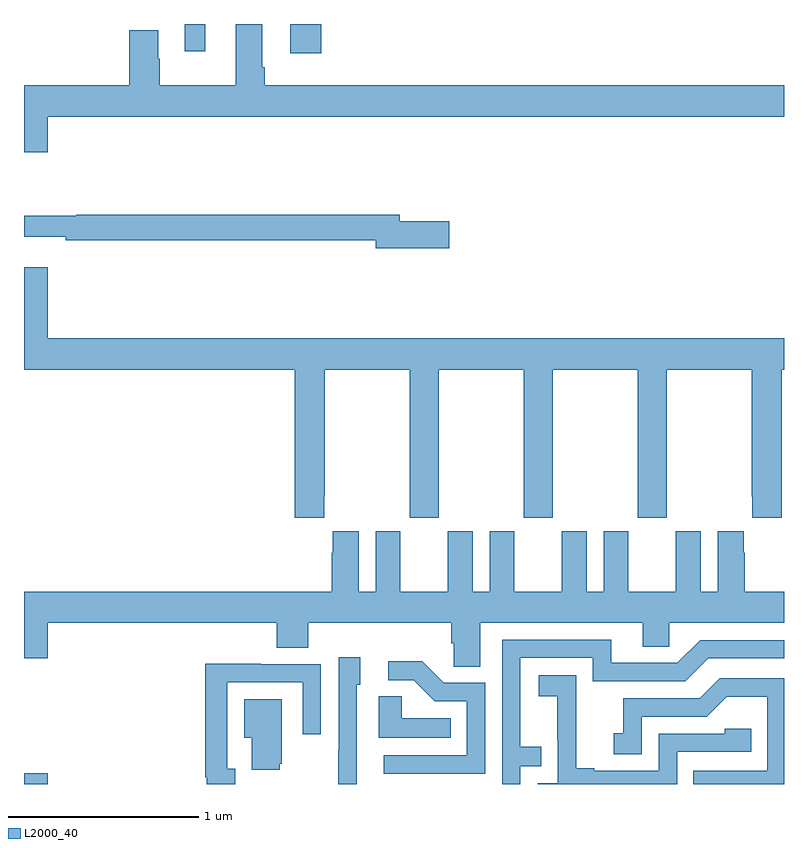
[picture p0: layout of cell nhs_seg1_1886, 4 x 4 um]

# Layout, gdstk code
import gdstk
lib = gdstk.Library(unit=1e-6, precision=1e-09)
def R(c, l, rs):  # rectangles x0, y0, x1, y1
    for r in rs: c.add(gdstk.rectangle(r[:2], r[2:], *l))
def P(c, l, *ps):  # polygons
    for p in ps: c.add(gdstk.Polygon(p, *l))
L2000_40 = (2000, 40)

nhs_seg1_1886 = lib.new_cell('nhs_seg1_1886')
R(nhs_seg1_1886, L2000_40, [(213,568.199,213.124,568.255), (214.4,572.046,214.564,572.199), (213.845,572.055,213.955,572.199)])
P(nhs_seg1_1886, L2000_40, [(213.124,571.712),(217,571.712),(217,571.876),(214.268,571.876),(214.268,571.972),(214.255,571.972),(214.255,572.197),(214.115,572.197),(214.115,571.876),(213.714,571.876),(213.714,572.015),(213.706,572.015),(213.706,572.165),(213.554,572.165),(213.554,571.876),(213,571.876),(213,571.524),(213.124,571.524)],
  [(215.239,571.16),(214.978,571.16),(214.978,571.196),(213.274,571.196),(213.274,571.189),(213,571.189),(213,571.079),(213.22,571.079),(213.22,571.06),(214.85,571.06),(214.85,571.018),(215.239,571.018)],
  [(214.579,569.713),(214.584,569.713),(214.584,570.38),(215.029,570.38),(215.029,569.601),(215.184,569.601),(215.184,570.38),(215.629,570.38),(215.629,569.601),(215.784,569.601),(215.784,570.38),(216.229,570.38),(216.229,569.601),(216.384,569.601),(216.384,570.38),(216.829,570.38),(216.829,569.713),(216.833,569.713),(216.833,569.601),(216.989,569.601),(216.989,570.38),(217,570.38),(217,570.544),(213.124,570.544),(213.124,570.919),(213,570.919),(213,570.38),(214.424,570.38),(214.424,569.601),(214.579,569.601)],
  [(215.401,569.048),(216.257,569.048),(216.257,568.921),(216.396,568.921),(216.396,569.048),(217,569.048),(217,569.212),(216.794,569.212),(216.794,569.417),(216.787,569.417),(216.787,569.53),(216.65,569.53),(216.65,569.212),(216.562,569.212),(216.562,569.53),(216.431,569.53),(216.431,569.212),(216.181,569.212),(216.181,569.53),(216.05,569.53),(216.05,569.212),(215.962,569.212),(215.962,569.53),(215.831,569.53),(215.831,569.212),(215.581,569.212),(215.581,569.53),(215.45,569.53),(215.45,569.212),(215.362,569.212),(215.362,569.53),(215.231,569.53),(215.231,569.212),(214.981,569.212),(214.981,569.53),(214.85,569.53),(214.85,569.212),(214.762,569.212),(214.762,569.53),(214.625,569.53),(214.625,569.417),(214.619,569.417),(214.619,569.212),(213,569.212),(213,568.86),(213.124,568.86),(213.124,569.048),(214.331,569.048),(214.331,568.915),(214.496,568.915),(214.496,569.048),(215.249,569.048),(215.249,568.939),(215.262,568.939),(215.262,568.816),(215.401,568.816)],
  [(215.613,568.293),(215.723,568.293),(215.723,568.394),(215.613,568.394),(215.613,568.863),(215.994,568.863),(215.994,568.74),(216.48,568.74),(216.6,568.86),(217,568.86),(217,568.956),(216.558,568.956),(216.438,568.836),(216.091,568.836),(216.091,568.959),(215.517,568.959),(215.517,568.199),(215.613,568.199)],
  [(214.752,568.722),(214.771,568.722),(214.771,568.867),(214.656,568.867),(214.656,568.373),(214.654,568.373),(214.654,568.199),(214.752,568.199)],
  [(215.427,568.731),(215.208,568.731),(215.095,568.844),(214.917,568.844),(214.917,568.746),(215.051,568.746),(215.162,568.635),(215.331,568.635),(215.331,568.35),(214.893,568.35),(214.893,568.254),(215.427,568.254)],
  [(214.111,568.278),(214.071,568.278),(214.071,568.734),(214.467,568.734),(214.467,568.461),(214.563,568.461),(214.563,568.83),(214.247,568.83),(214.247,568.832),(213.955,568.832),(213.955,568.234),(213.963,568.234),(213.963,568.199),(214.111,568.199)],
  [(216.438,568.368),(216.827,568.368),(216.827,568.491),(216.687,568.491),(216.687,568.464),(216.342,568.464),(216.342,568.269),(216.001,568.269),(216.001,568.282),(215.906,568.282),(215.906,568.565),(215.907,568.565),(215.907,568.771),(215.709,568.771),(215.709,568.661),(215.807,568.661),(215.807,568.433),(215.808,568.433),(215.808,568.203),(215.703,568.203),(215.703,568.199),(216.438,568.199)],
  [(217,568.755),(216.662,568.755),(216.557,568.65),(216.154,568.65),(216.154,568.465),(216.105,568.465),(216.105,568.356),(216.252,568.356),(216.252,568.554),(216.594,568.554),(216.698,568.658),(216.912,568.658),(216.912,568.269),(216.523,568.269),(216.523,568.199),(217,568.199)],
  [(215.246,568.546),(214.989,568.546),(214.989,568.661),(214.868,568.661),(214.868,568.442),(215.246,568.442)],
  [(214.346,568.305),(214.357,568.305),(214.357,568.645),(214.16,568.645),(214.16,568.442),(214.199,568.442),(214.199,568.274),(214.346,568.274)])

lib.write_gds('nhs_seg1_1886.gds')
